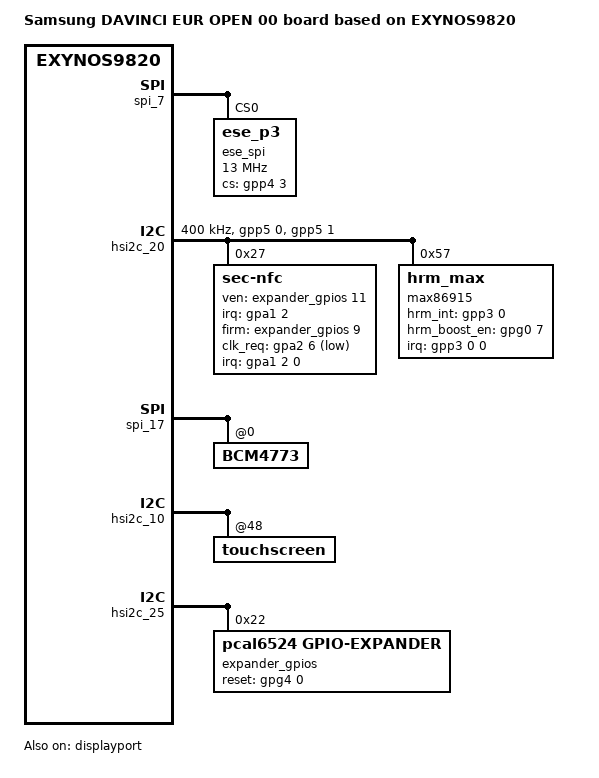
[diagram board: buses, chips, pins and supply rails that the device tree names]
/*
 * SAMSUNG EXYNOS9820 board device tree source
 *
 * Copyright (c) 2018 Samsung Electronics Co., Ltd.
 *		http://www.samsung.com
 *
 * This program is free software; you can redistribute it and/or modify
 * it under the terms of the GNU General Public License version 2 as
 * published by the Free Software Foundation.
*/

/dts-v1/;
/plugin/;
#include "exynos9820-sensorhub.dtsi"
#include "exynos9820-display-lcd.dtsi"
#include "battery_data_davinci5g_common.dtsi"
#include "exynos9820-beyond2lte_if-pmic-max77705.dtsi"
#include <dt-bindings/clock/exynos9820.h>
#include <dt-bindings/pci/pci.h>
#include "exynos9820-davinci5g_camera.dtsi"
#include "exynos9820-davinci5g_common.dtsi"
#include "exynos9820-davinci5g_fingerprint_00.dtsi"
#include "exynos9820-davinci5g_kor_gpio_00.dtsi"
#include "exynos9820-beyondlte_kor-tdmb-00.dtsi"

/ {
	compatible = "samsung,DAVINCI EUR OPEN 00", "samsung,EXYNOS9820";
	dtbo-hw_rev = <0>;
   	dtbo-hw_rev_end = <0>;

	fragment@model {
		target-path = "/";
		__overlay__ {
			#address-cells = <2>;
			#size-cells = <1>;

			model = "Samsung DAVINCI EUR OPEN 00 board based on EXYNOS9820";

		}; /* end of __overlay__ */
	}; /* end of fragment */
}; /* end of root */

&pinctrl_6 {
	spi7_bus_suspend: spi7-bus-suspend {
		samsung,pins = "gpp4-2", "gpp4-1", "gpp4-0";
		samsung,pin-function = <0>;	/* INPUT */
		samsung,pin-pud = <1>;		/* DOWN */
		samsung,pin-drv = <0>;
	};
	spi7_cs_suspend: spi7-cs-suspend {
		samsung,pins = "gpp4-3";
		samsung,pin-function = <0>;	/* INPUT */
		samsung,pin-pud = <1>;		/* DOWN */
		samsung,pin-drv = <0>;
	};
};

/* SPI USI_PERIC1_USI06_SPI */
&spi_7 {
	status = "okay";
	/delete-property/ pinctrl-names;
	/delete-property/ pinctrl-0;
	pinctrl-names = "ese_active", "ese_suspend";
	pinctrl-0 = <&spi7_bus &spi7_cs>;
	pinctrl-1 = <&spi7_bus_suspend &spi7_cs_suspend>;

	ese_spi@0 {
		compatible = "ese_p3";
		reg = <0>;
		spi-max-frequency = <13000000>;
		gpio-controller;
		#gpio-cells = <2>;

		p3-vdd-1p8= "VDD_ESE_1P8";

		clocks = <&clock GATE_USI06_USI>, <&clock DOUT_CLK_PERIC1_USI06_USI>;
		clock-names = "pclk", "sclk";
		ese_p3,cs-gpio = <&gpp4 3 0>;

		controller-data {
			samsung,spi-feedback-delay = <0>;
			samsung,spi-chip-select-mode = <0>;
		};
	};
};

&hsi2c_20 {
	gpios = <&gpp5 0 0 &gpp5 1 0>;
	status = "okay";
	clock-frequency = <400000>;

	sec-nfc@27 {
		compatible = "sec-nfc";
		reg = <0x27>;

		interrupts = <2 0 0>;
		interrupt-parent = <&gpa1>;

		sec-nfc,ven-gpio = <&expander_gpios 11 0>;
		sec-nfc,irq-gpio = <&gpa1 2 0>;
		sec-nfc,firm-gpio = <&expander_gpios 9 0>;
		sec-nfc,clk_req-gpio = <&gpa2 6 0xf>;
		sec-nfc,clk_use = <2>;
		sec-nfc,nfc_pvdd = "VDD_NFC_1P8";

		clocks = <&clock OSC_NFC>;
		clock-names = "oscclk_nfc";
		sec-nfc,nfc_ap_clk;
		sec-nfc,ldo_control;
	};

	max86915@57 {
		compatible = "hrm_max";
		reg = <0x57>;
		interrupt-parent = <&gpp3>;
		interrupts = <0 0 0>;
		pinctrl-names = "default", "sleep", "idle";
		pinctrl-0 = <&hrm_irq &hrm_en>;
		pinctrl-1 = <&hrm_irqsleep &hrm_ensleep>;
		pinctrl-2 = <&hrm_irqidle &hrm_enidle>;
		hrmsensor,hrm_int-gpio = <&gpp3 0 0>;
		hrmsensor,hrm_boost_en-gpio = <&gpg0 7 0>;
		hrmsensor,vdd_1p8 = "S2MPB02_LDO8";
		hrmsensor,i2c_1p8 = "VDD_NFC_1P8";
		hrmsensor,thd = <100000 100000>;
		hrmsensor,init_curr = <0x46 0x41 0x28 0x3c>;
	};
};

&pinctrl_5 {
	hrm_irq: hrm-irq {
		samsung,pins = "gpp3-0";
		samsung,pin-function = <0xf>;
		samsung,pin-pud = <0>;
		samsung,pin-drv = <3>;
	};

	hrm_irqsleep: hrm-irqsleep {
		samsung,pins = "gpp3-0";
		samsung,pin-con-pdn = <2>;
		samsung,pin-pud-pdn = <0>;
	};

	hrm_irqidle: hrm-irqidle {
		samsung,pins = "gpp3-0";
		samsung,pin-function = <0xf>;
		samsung,pin-pud = <0>;
		samsung,pin-drv = <3>;
	};

	hrm_en: hrm-en {
		samsung,pins = "gpg0-7";
		samsung,pin-function = <0>;
		samsung,pin-pud = <1>;
		samsung,pin-drv = <2>;
	};

	hrm_ensleep: hrm-ensleep {
		samsung,pins = "gpg0-7";
		samsung,pin-con-pdn = <2>;
		samsung,pin-pud-pdn = <1>;
	};

	hrm_enidle: hrm-enidle {
		samsung,pins = "gpg0-7";
		samsung,pin-function = <0>;
		samsung,pin-pud = <1>;
		samsung,pin-drv = <2>;
	};
};

&spi_17 {
	BCM4773@0 {
		ssp-acc-position = <4>;
		ssp-mag-position = <5>;
		ssp-mag-array = /bits/ 8 <216 82 110 20 16 123 255 209 211 54 70 37 180 8 0 147 255 113 132 121
					190 252 250 15 9 40 180>;
		ssp-thermi-up = /bits/ 16 <2995 2964 2926 2883 2822 2750 2670 2564 2450 2320 2178 2020 1860 1700
					1540 1377 1218 1079 999 834 753 647 566>;
		ssp-thermi-sub = /bits/ 16 <2986 2953 2918 2873 2810 2741 2656 2552 2441 2312 2171 2015 1857 1698
					1537 1377 1217 1083 1003 845 758 654 575>;
	};
};

&hsi2c_10 {
	touchscreen@48 {
		sec,tclm_level = <1>;
		sec,project_name = "BEYOND2", "G975";
		sec,bringup = <1>;	/* do not check kernel fw */
	};
};

&hsi2c_25 {
	status = "okay";
	expander_gpios: pcal6524@22 {
		compatible = "pcal6524,gpio-expander";
		gpio-controller;
		#gpio-cells = <2>;
		reg = <0x22>;
		pinctrl-names = "expander_reset_setting";
		pinctrl-0 = <&expander_reset_active>;
		pcal6524,gpio_start = <300>;
		pcal6524,ngpio = <24>;
		pcal6524,reset-gpio = <&gpg4 0 0>;
		pcal6524,support_initialize = <1>;
		/* config, 24 ~ 0, 1bit configure[1:input, 0:output]*/
		pcal6524,config = <0xFFFFFF>;    /* P2[11111111] P1[11111111] P0[11111111] */
		/* data_out, 24 ~ 0, 1bit configure[1:high, 0:low]*/
		pcal6524,data_out = <0x000000>;  /* P2[00000000] P1[00000000] P0[00000000] */
		/* pull_reg, 8 ~ 0, 2bit configure[00:no_pull, 01:pull_down, 10:pull_up, 11:not used] */
		pcal6524,pull_reg_p0 = <0x0000>; /* 00 00 00 00 / 00 00 00 00 */
		pcal6524,pull_reg_p1 = <0x0000>; /* 00 00 00 00 / 00 00 00 00 */
		pcal6524,pull_reg_p2 = <0x0000>; /* 00 00 00 00 / 00 00 00 00 */
	};
};

&displayport {
	status = "okay";
	dp,aux_sw_oe = <&expander_gpios 4 0>;
	dp,sbu_sw_sel = <&expander_gpios 1 0>;
	dp,usb_con_sel = <&gpg0 4 0>;
};
